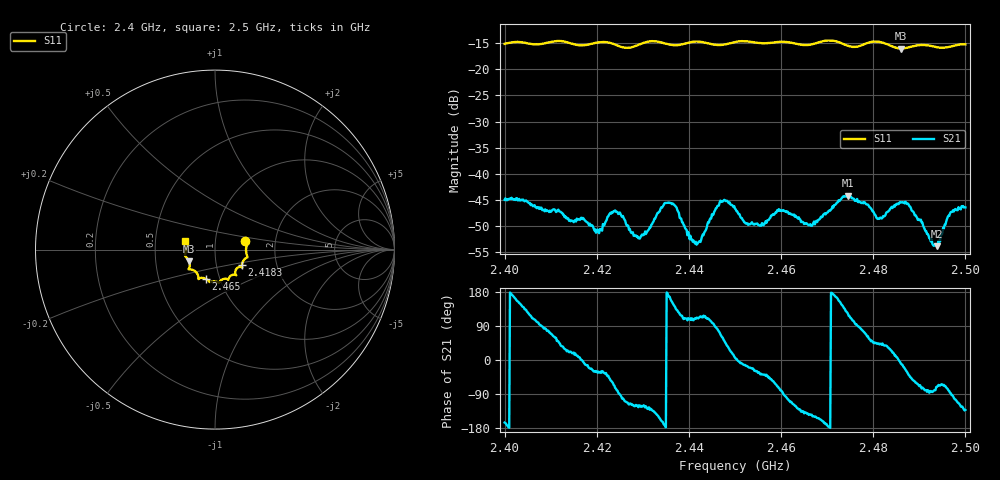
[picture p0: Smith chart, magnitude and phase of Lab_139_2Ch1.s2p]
# Hz S RI R 50
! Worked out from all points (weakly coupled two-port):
!   601 points, 2.4 GHz to 2.5 GHz, reference 50 ohm
!   highest |S21| = -44.13 dB at 2.4745 GHz (marker M1); lowest = -53.8 dB at 2.4938 GHz (marker M2)
!   lowest |S11| = -16.0 dB at 2.486 GHz (marker M3), VSWR 1.38, Z = 37.1 - j4.95 ohm
!   |S11| at or under -10 dB: start of sweep to end of sweep
!   S12 and S22 are empty: the file has one direction only
!   S11 on the Smith chart (normalised r, x): 2.4 GHz: 1.40, +0.13; 2.4183 GHz: 1.33, -0.24; 2.465 GHz: 0.86, -0.29; 2.5 GHz: 0.71, +0.07
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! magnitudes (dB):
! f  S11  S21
! 2.4 GHz  -15.1  -44.9
! 2.4167 GHz  -15.4  -48.4
! 2.4183 GHz  -15.2  -49.8
! 2.4207 GHz  -14.8  -50.6
! 2.424 GHz  -15.3  -47.0
! 2.4292 GHz  -15.3  -52.2
! 2.4333 GHz  -14.7  -47.4
! 2.4367 GHz  -15.4  -45.8
! 2.4417 GHz  -14.7  -53.5
! 2.4472 GHz  -15.3  -45.2
! 2.45 GHz  -14.8  -46.6
! 2.4528 GHz  -14.7  -49.7
! 2.46 GHz  -14.7  -47.1
! 2.465 GHz  -15.4  -49.6
! 2.4667 GHz  -15.2  -49.9
! 2.4745 GHz  -15.5  -44.1
! 2.4812 GHz  -14.7  -48.5
! 2.4833 GHz  -15.3  -47.1
! 2.486 GHz  -16.0  -45.4
! 2.4938 GHz  -15.8  -53.8
! 2.4967 GHz  -15.7  -47.5
! 2.5 GHz  -15.2  -46.4
